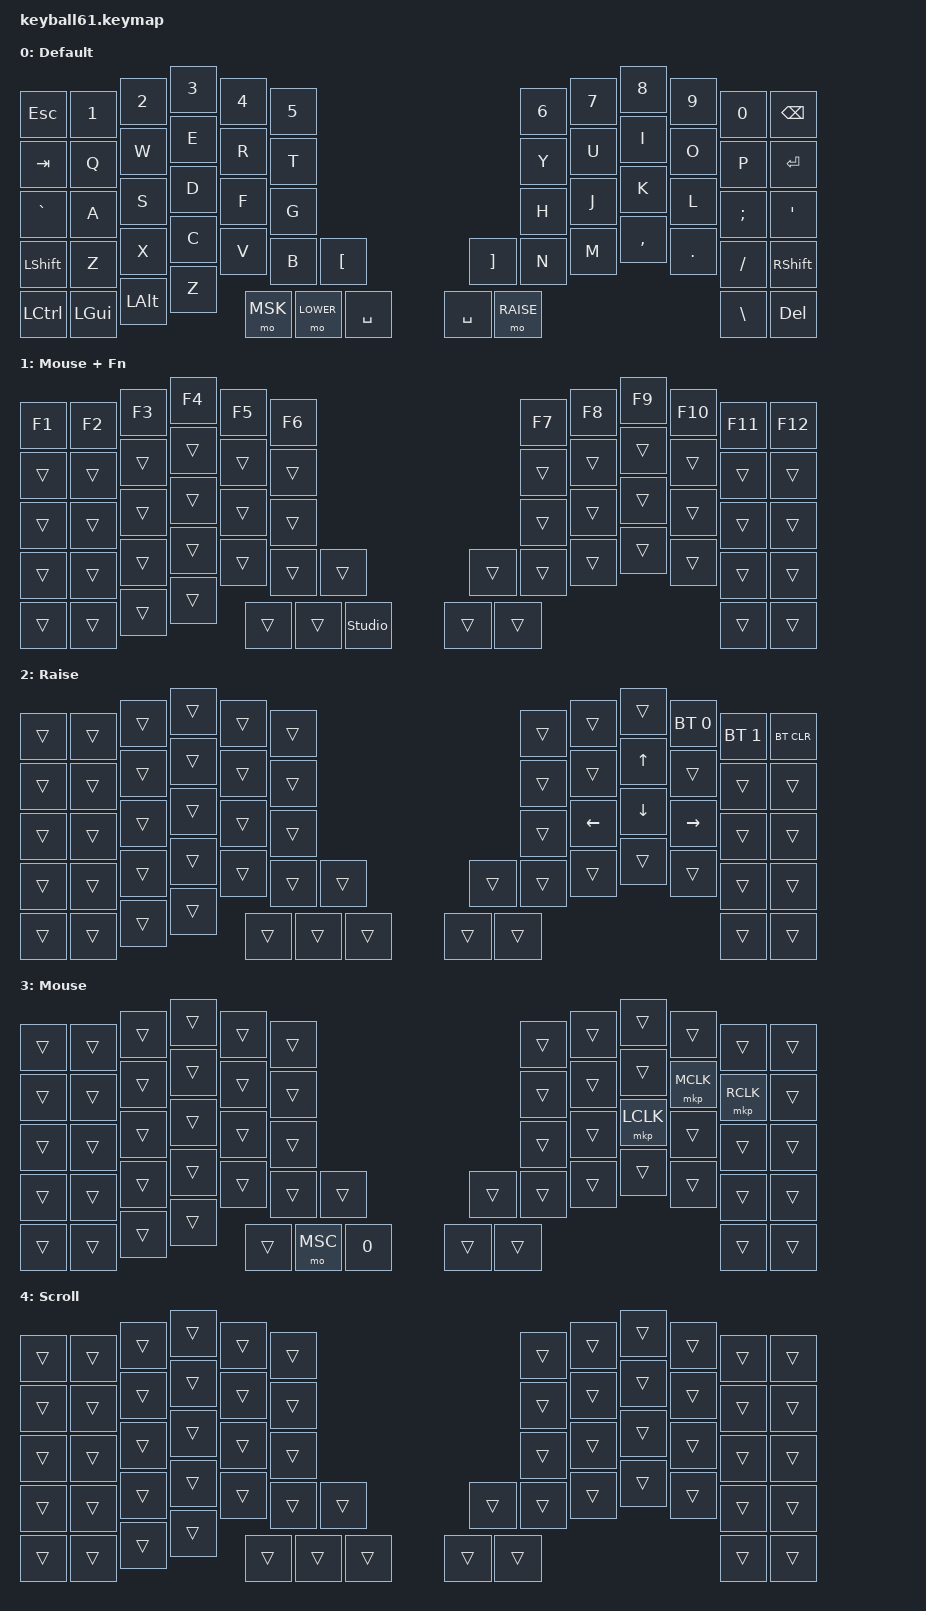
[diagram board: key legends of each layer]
#include <dt-bindings/zmk/pointing.h>
#include <dt-bindings/zmk/bt.h>

#include <behaviors.dtsi>

#define BAS 0
#define LOWER 1
#define RAISE 2
#define MSK 3
#define MSC 4

/ {
    keymap {
        compatible = "zmk,keymap";

        default_layer {
            display-name = "Default";
            bindings = <
                &kp ESC   &kp N1    &kp N2    &kp N3    &kp N4    &kp N5                             &kp N6    &kp N7    &kp N8    &kp N9    &kp N0    &kp BSPC
                &kp TAB   &kp Q     &kp W     &kp E     &kp R     &kp T                              &kp Y     &kp U     &kp I     &kp O     &kp P     &kp ENTER
                &kp GRAVE &kp A     &kp S     &kp D     &kp F     &kp G                              &kp H     &kp J     &kp K     &kp L     &kp SEMI  &kp APOS
                &kp LSHFT &kp Z     &kp X     &kp C     &kp V     &kp B     &kp LBKT       &kp RBKT  &kp N     &kp M     &kp COMMA &kp DOT   &kp FSLH  &kp RSHFT
                &kp LCTRL &kp LGUI  &kp LALT  &kp Z     &mo MSK   &mo LOWER &kp SPACE      &kp SPACE &mo RAISE                               &kp BSLH  &kp DEL
            >;
        };

        lower_layer {
            display-name = "Mouse + Fn";
            bindings = <
                &kp F1    &kp F2    &kp F3    &kp F4    &kp F5    &kp F6                             &kp F7    &kp F8    &kp F9    &kp F10   &kp F11   &kp F12
                &trans    &trans    &trans    &trans    &trans    &trans                             &trans    &trans    &trans    &trans    &trans    &trans
                &trans    &trans    &trans    &trans    &trans    &trans                             &trans    &trans    &trans    &trans    &trans    &trans
                &trans    &trans    &trans    &trans    &trans    &trans    &trans         &trans    &trans    &trans    &trans    &trans    &trans    &trans
                &trans    &trans    &trans    &trans    &trans    &trans    &studio_unlock &trans    &trans                                  &trans    &trans
            >;
        };

        raise_layer {
            display-name = "Raise";
            bindings = <
                &trans    &trans    &trans    &trans    &trans    &trans                             &trans    &trans    &trans &bt BT_SEL 0 &bt BT_SEL 1 &bt BT_CLR
                &trans    &trans    &trans    &trans    &trans    &trans                             &trans    &trans    &kp UP    &trans    &trans    &trans
                &trans    &trans    &trans    &trans    &trans    &trans                             &trans    &kp LEFT  &kp DOWN  &kp RIGHT &trans    &trans
                &trans    &trans    &trans    &trans    &trans    &trans    &trans         &trans    &trans    &trans    &trans    &trans    &trans    &trans
                &trans    &trans    &trans    &trans    &trans    &trans    &trans         &trans    &trans                                  &trans    &trans
            >;
        };

        MSK_layer {
            display-name = "Mouse";
            bindings = <
                &trans    &trans    &trans    &trans    &trans    &trans                             &trans    &trans    &trans    &trans    &trans    &trans
                &trans    &trans    &trans    &trans    &trans    &trans                             &trans    &trans    &trans    &mkp MCLK &mkp RCLK &trans
                &trans    &trans    &trans    &trans    &trans    &trans                             &trans    &trans    &mkp LCLK &trans    &trans    &trans
                &trans    &trans    &trans    &trans    &trans    &trans    &trans         &trans    &trans    &trans    &trans    &trans    &trans    &trans
                &trans    &trans    &trans    &trans    &trans    &mo MSC   &kp N0         &trans    &trans                                  &trans    &trans
            >;
        };

        MSC_layer {
            display-name = "Scroll";
            bindings = <
                &trans    &trans    &trans    &trans    &trans    &trans                             &trans    &trans    &trans    &trans    &trans    &trans
                &trans    &trans    &trans    &trans    &trans    &trans                             &trans    &trans    &trans    &trans    &trans    &trans
                &trans    &trans    &trans    &trans    &trans    &trans                             &trans    &trans    &trans    &trans    &trans    &trans
                &trans    &trans    &trans    &trans    &trans    &trans    &trans         &trans    &trans    &trans    &trans    &trans    &trans    &trans
                &trans    &trans    &trans    &trans    &trans    &trans    &trans         &trans    &trans                                  &trans    &trans
            >;
        };
    };
};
